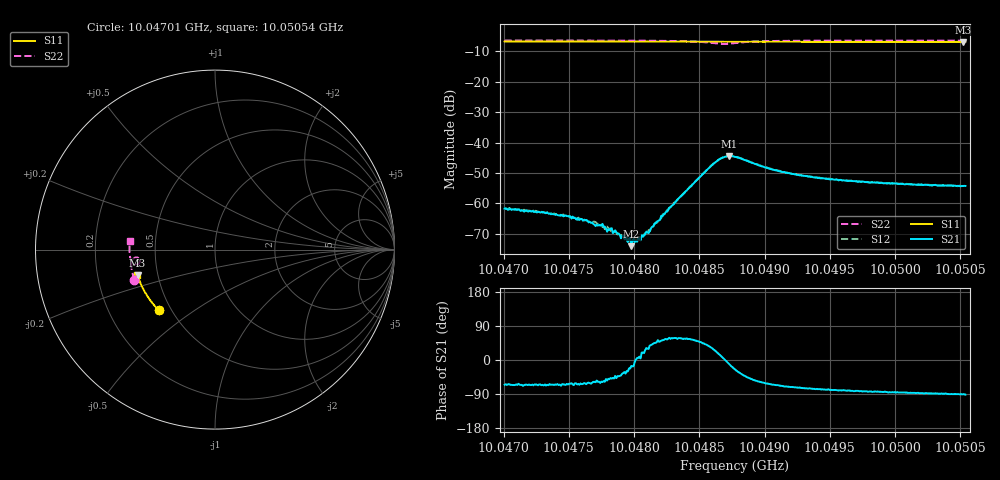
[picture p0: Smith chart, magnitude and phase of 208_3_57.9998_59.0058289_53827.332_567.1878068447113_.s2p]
#  HZ  S  RI  R  50.00
! Rohde & Schwarz Vector Network Analyzer
! Rohde-Schwarz,ZNB20-2Port,1311601062101988,3.16
! Created: UTC 3/21/2024, 12:59:38 AM
! freq[Hz]  re:S11  im:S11  re:S21  im:S21  re:S12  im:S12  re:S22  im:S22
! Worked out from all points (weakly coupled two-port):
!   401 points, 10.04701 GHz to 10.05054 GHz, reference 50 ohm
!   highest |S21| = -44.39 dB at 10.04873 GHz (marker M1); lowest = -74.1 dB at 10.04798 GHz (marker M2)
!   lowest |S11| = -6.9 dB at 10.05052 GHz (marker M3), VSWR 2.66, Z = 19.2 - j6.85 ohm
!   |S11| at or under -10 dB: nowhere
!   |S22| runs from -7.5 to -6.4 dB; largest |S21 - S12| = 0.00042
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1.0047008e10  -0.3129 -0.338  0.000344 -0.000748  0.000411 -0.000733  -0.449 -0.1682
1.0047317e10  -0.3271 -0.3233  0.000299 -0.000633  0.000349 -0.000626  -0.4553 -0.1478
1.00476e10  -0.3396 -0.3091  0.000245 -0.000498  0.000285 -0.000475  -0.4602 -0.1286
1.0047706e10  -0.3442 -0.3039  0.00022 -0.000362  0.00028 -0.000405  -0.4619 -0.121
1.0047759e10  -0.3464 -0.3012  0.000242 -0.000391  0.000251 -0.000325  -0.4626 -0.117
1.0047873e10  -0.3511 -0.2952  0.000236 -0.000215  0.000247 -0.000186  -0.4642 -0.1084
1.0047962e10  -0.3546 -0.2905  0.000246 -9.96e-05  0.00023 -0.000105  -0.4651 -0.1015
1.0047979e10  -0.3553 -0.2896  0.000191 -5.38e-05  0.000265 -5.62e-05  -0.4652 -0.1001
1.0047997e10  -0.3561 -0.2888  0.000251 -7.31e-05  0.000269 -4.18e-05  -0.4653 -0.0987
1.004805e10  -0.3582 -0.2859  0.000247 1.78e-05  0.000266 7.48e-05  -0.4657 -0.0944
1.0048121e10  -0.361 -0.2821  0.000278 0.000218  0.000264 0.000226  -0.4659 -0.0885
1.0048191e10  -0.3638 -0.2784  0.000351 0.000393  0.000331 0.000414  -0.4658 -0.0822
1.0048306e10  -0.3682 -0.2721  0.000517 0.000831  0.00053 0.000879  -0.4646 -0.0706
1.0048588e10  -0.3782 -0.2564  0.00343 0.00224  0.00333 0.00249  -0.4368 -0.0432
1.0048659e10  -0.3804 -0.2527  0.00525 0.00125  0.00521 0.00155  -0.4212 -0.0508
1.004873e10  -0.3829 -0.249  0.00592 -0.00116  0.006 -0.000784  -0.4189 -0.0704
1.0048774e10  -0.3842 -0.2464  0.00529 -0.00245  0.00551 -0.00212  -0.4264 -0.0795
1.0049065e10  -0.3944 -0.23  0.00152 -0.00326  0.00175 -0.00321  -0.466 -0.0627
1.0049365e10  -0.4036 -0.2125  0.000659 -0.00265  0.000852 -0.00261  -0.474 -0.0357
1.0049957e10  -0.4193 -0.1768  0.000191 -0.00214  0.00031 -0.00211  -0.4764 0.00858
1.0050522e10  -0.4315 -0.1418  -3.32e-06 -0.00195  0.000104 -0.00194  -0.4742 0.0474
1.005054e10  -0.432 -0.1407  -4.5e-05 -0.00194  9.76e-05 -0.00194  -0.4739 0.0487
